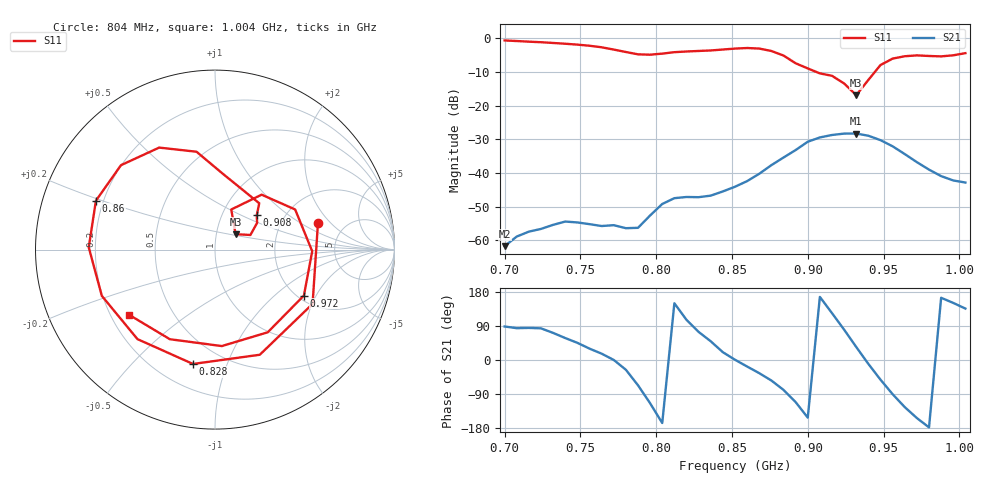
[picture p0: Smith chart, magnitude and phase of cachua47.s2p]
# Hz S RI R 50
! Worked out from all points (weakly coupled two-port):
!   39 points, 700 MHz to 1.004 GHz, reference 50 ohm
!   highest |S21| = -28.27 dB at 932 MHz (marker M1); lowest = -61.7 dB at 700 MHz (marker M2)
!   lowest |S11| = -16.9 dB at 932 MHz (marker M3), VSWR 1.33, Z = 61.9 + j10.9 ohm
!   |S11| at or under -10 dB: 905.7 MHz to 944.3 MHz (38.53 MHz wide, 4.16 % of centre)
!   S12 and S22 are empty: the file has one direction only
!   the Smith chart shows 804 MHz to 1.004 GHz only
!   S11 on the Smith chart (normalised r, x): 804 MHz: 3.19, +1.45; 828 MHz: 0.35, -0.76; 860 MHz: 0.17, +0.19; 908 MHz: 1.45, +0.61; 972 MHz: 2.15, -1.60; 1.004 GHz: 0.27, -0.31
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7e8  0.7664 0.5247  2.25e-05 0.000821  0 0  0 0
7.24e8  0.8336 -0.2645  0.000166 0.00147  0 0  0 0
7.4e8  0.4435 -0.7018  0.00101 0.00161  0 0  0 0
7.56e8  -0.1968 -0.7497  0.00151 0.000873  0 0  0 0
7.72e8  -0.6541 -0.1868  0.00168 5.58e-06  0 0  0 0
7.8e8  -0.5808 0.2339  0.00137 -0.000659  0 0  0 0
7.88e8  -0.2248 0.5322  0.000608 -0.00141  0 0  0 0
7.96e8  0.2592 0.5085  -0.00096 -0.00214  0 0  0 0
8.04e8  0.5736 0.1477  -0.00337 -0.000824  0 0  0 0
8.2e8  0.2496 -0.5858  -0.00121 0.00424  0 0  0 0
8.28e8  -0.1226 -0.6371  0.0012 0.00421  0 0  0 0
8.52e8  -0.7034 0.0127  0.00626 7.04e-05  0 0  0 0
8.6e8  -0.6634 0.2727  0.00725 -0.00225  0 0  0 0
8.76e8  -0.3112 0.5683  0.00766 -0.0106  0 0  0 0
9e8  0.2466 0.2582  -0.0258 -0.0136  0 0  0 0
9.08e8  0.2325 0.1918  -0.0328 0.00791  0 0  0 0
9.32e8  0.1146 0.0859  0.0319 0.0217  0 0  0 0
9.4e8  0.0906 0.2234  0.0352 -0.00645  0 0  0 0
9.56e8  0.4466 0.2235  -9.63e-05 -0.0249  0 0  0 0
9.72e8  0.4955 -0.2558  -0.0129 -0.00653  0 0  0 0
9.88e8  0.038 -0.5375  -0.00866 0.00245  0 0  0 0
1.004e9  -0.4809 -0.3618  -0.00517 0.00505  0 0  0 0
